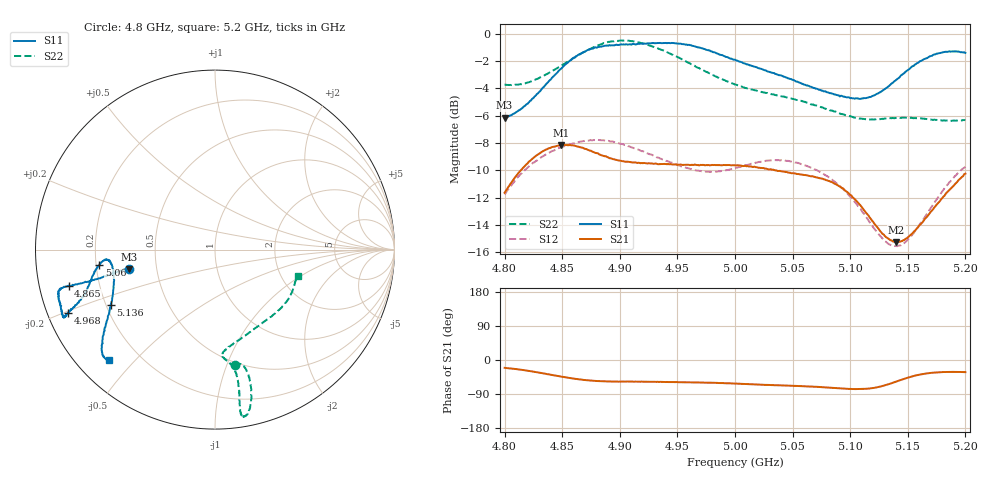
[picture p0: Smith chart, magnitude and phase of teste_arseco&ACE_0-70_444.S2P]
! Network Analyzer HP8722D
! Hewlett-Packard
! Data name: Linha & Wilkinson
! Saver's name: Rodrigo Anjos
! Comments: Teste da utilização de aquisição
! continua pelo VNA HP8722D
! Time and date: 8/5/2025 16:27
!  Frequency  S11  S21  S12  S22
# HZ  S  MA R 50
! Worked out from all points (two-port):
!   401 points, 4.8 GHz to 5.2 GHz, reference 50 ohm
!   highest |S21| = -8.13 dB at 4.849 GHz (marker M1); lowest = -15.2 dB at 5.14 GHz (marker M2)
!   |S21| within 3 dB of the highest: 4.804 GHz to 5.09 GHz (286.2 MHz wide, 5.78 % of centre); 5.189689 GHz to end of sweep
!   lowest |S11| = -6.1 dB at 4.8 GHz (marker M3), VSWR 2.94, Z = 17.2 - j4.89 ohm
!   |S11| at or under -10 dB: nowhere
!   |S22| runs from -6.4 to -0.5 dB; largest |S21 - S12| = 0.62
!   S11 on the Smith chart (normalised r, x): 4.8 GHz: 0.34, -0.10; 4.865 GHz: 0.09, -0.12; 4.968 GHz: 0.06, -0.21; 5.06 GHz: 0.21, -0.06; 5.136 GHz: 0.22, -0.24; 5.2 GHz: 0.10, -0.42
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4.8e9  0.4927 -167.4  0.262 -20.7  0.2583 -141.9  0.6513 -80.3
4.821e9  0.5607 -167.1  0.3403 -28.7  0.3269 -145.0  0.6642 -76.4
4.849e9  0.7445 -166.1  0.3922 -43.8  0.3842 -150.2  0.7638 -75.0
4.865e9  0.8403 -166.2  0.3849 -51.2  0.4023 -152.7  0.8397 -76.0
4.867e9  0.8495 -166.0  0.3835 -52.0  0.4034 -153.1  0.8489 -76.2
4.898e9  0.9094 -163.2  0.3445 -56.8  0.3983 -157.1  0.9412 -79.6
4.913e9  0.9157 -160.0  0.3384 -57.1  0.3809 -157.5  0.9348 -80.8
4.934e9  0.9258 -156.6  0.3332 -57.9  0.3515 -155.9  0.8795 -81.0
4.968e9  0.8908 -156.6  0.3309 -59.4  0.3158 -147.9  0.7499 -80.1
5e9  0.8032 -159.4  0.33 -62.2  0.3223 -137.8  0.6517 -81.7
5.036e9  0.7112 -166.4  0.3162 -66.7  0.3444 -135.2  0.5957 -86.0
5.06e9  0.6512 -172.3  0.3042 -69.1  0.3306 -137.2  0.5633 -84.4
5.067e9  0.6369 -173.7  0.3013 -70.1  0.3232 -137.8  0.5508 -82.6
5.086e9  0.5998 -174.6  0.2836 -73.9  0.2889 -139.4  0.5192 -74.9
5.102e9  0.5802 -171.1  0.2525 -76.6  0.2484 -139.3  0.4959 -65.3
5.116e9  0.586 -164.3  0.2159 -75.6  0.2071 -135.2  0.4857 -55.0
5.134e9  0.6458 -153.2  0.1769 -63.3  0.1695 -118.7  0.4907 -42.8
5.136e9  0.6577 -152.1  0.1753 -61.3  0.1678 -116.2  0.491 -41.7
5.14e9  0.6778 -150.0  0.173 -56.9  0.1672 -110.8  0.4923 -39.4
5.152e9  0.7471 -144.8  0.1831 -44.8  0.1796 -95.7  0.4925 -33.1
5.174e9  0.841 -138.6  0.2341 -32.9  0.2442 -80.5  0.4838 -23.8
5.2e9  0.8508 -133.8  0.3077 -32.0  0.3263 -77.6  0.4828 -17.7
